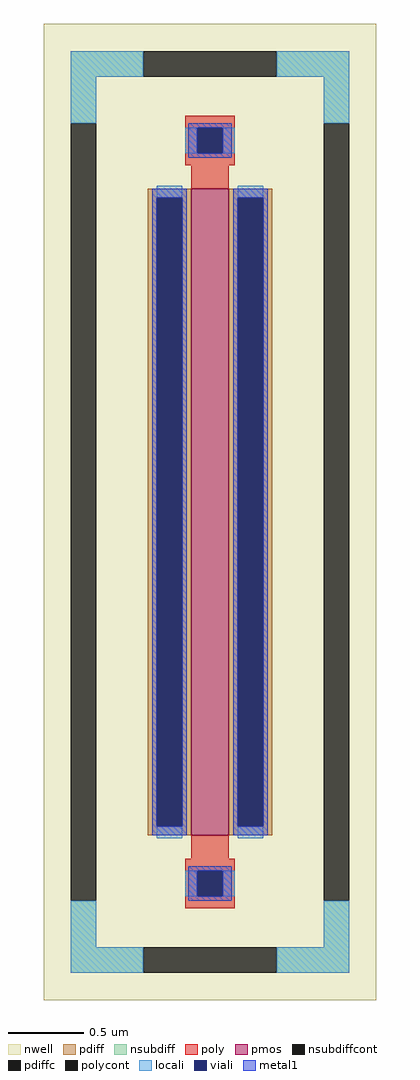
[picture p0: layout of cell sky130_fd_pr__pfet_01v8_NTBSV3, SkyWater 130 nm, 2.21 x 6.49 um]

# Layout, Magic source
magic
tech sky130A
magscale 1 2
<< nwell >>
rect -221 -649 221 649
<< pmos >>
rect -25 -430 25 430
<< pdiff >>
rect -83 418 -25 430
rect -83 -418 -71 418
rect -37 -418 -25 418
rect -83 -430 -25 -418
rect 25 418 83 430
rect 25 -418 37 418
rect 71 -418 83 418
rect 25 -430 83 -418
<< pdiffc >>
rect -71 -418 -37 418
rect 37 -418 71 418
<< nsubdiff >>
rect -185 579 -89 613
rect 89 579 185 613
rect -185 517 -151 579
rect 151 517 185 579
rect -185 -579 -151 -517
rect 151 -579 185 -517
rect -185 -613 -89 -579
rect 89 -613 185 -579
<< nsubdiffcont >>
rect -89 579 89 613
rect -185 -517 -151 517
rect 151 -517 185 517
rect -89 -613 89 -579
<< poly >>
rect -33 511 33 527
rect -33 477 -17 511
rect 17 477 33 511
rect -33 461 33 477
rect -25 430 25 461
rect -25 -461 25 -430
rect -33 -477 33 -461
rect -33 -511 -17 -477
rect 17 -511 33 -477
rect -33 -527 33 -511
<< polycont >>
rect -17 477 17 511
rect -17 -511 17 -477
<< locali >>
rect -185 579 -89 613
rect 89 579 185 613
rect -185 517 -151 579
rect 151 517 185 579
rect -33 477 -17 511
rect 17 477 33 511
rect -71 418 -37 434
rect -71 -434 -37 -418
rect 37 418 71 434
rect 37 -434 71 -418
rect -33 -511 -17 -477
rect 17 -511 33 -477
rect -185 -579 -151 -517
rect 151 -579 185 -517
rect -185 -613 -89 -579
rect 89 -613 185 -579
<< viali >>
rect -17 477 17 511
rect -71 -418 -37 418
rect 37 -418 71 418
rect -17 -511 17 -477
<< metal1 >>
rect -29 511 29 517
rect -29 477 -17 511
rect 17 477 29 511
rect -29 471 29 477
rect -77 418 -31 430
rect -77 -418 -71 418
rect -37 -418 -31 418
rect -77 -430 -31 -418
rect 31 418 77 430
rect 31 -418 37 418
rect 71 -418 77 418
rect 31 -430 77 -418
rect -29 -477 29 -471
rect -29 -511 -17 -477
rect 17 -511 29 -477
rect -29 -517 29 -511
<< properties >>
string FIXED_BBOX -168 -596 168 596
string gencell sky130_fd_pr__pfet_01v8
string library sky130
string parameters w 4.3 l 0.25 m 1 nf 1 diffcov 100 polycov 100 guard 1 glc 1 grc 1 gtc 1 gbc 1 tbcov 100 rlcov 100 topc 1 botc 1 poverlap 0 doverlap 1 lmin 0.15 wmin 0.42 compatible {sky130_fd_pr__pfet_01v8  sky130_fd_pr__pfet_01v8_lvt sky130_fd_pr__pfet_01v8_hvt  sky130_fd_pr__pfet_g5v0d10v5} full_metal 1 viasrc 100 viadrn 100 viagate 100 viagb 0 viagr 0 viagl 0 viagt 0
<< end >>
